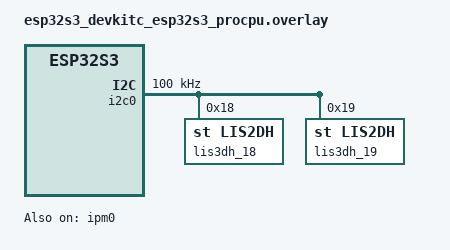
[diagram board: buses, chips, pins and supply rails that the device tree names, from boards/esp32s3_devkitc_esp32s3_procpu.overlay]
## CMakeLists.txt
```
cmake_minimum_required(VERSION 3.20.0)

find_package(Zephyr REQUIRED HINTS $ENV{ZEPHYR_BASE})
project(esp32s3_powermode_procpu)

target_sources(app PRIVATE
	src/main.c
	src/sensor_hub.c
)
```

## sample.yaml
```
sample:
  name: ESP32-S3 Power Mode lab (HW-664/LIS3DH + SSD1306, dual-core AMP)
  description: >
    core0 (procpu) reads the HW-664 accelerometer (actual chip: ST
    LIS3DH) over I2C0 every 100 ms using Zephyr's standard sensor API,
    auto-selecting whichever of the two candidate addresses (0x18/0x19)
    responds. It runs a 3-state power policy - Normal, Sleep, and
    Ultra-Sleep - driven by the onboard Boot button and by accel delta
    events (>=0.15g), and reports state/data to core1 over IPM. core1
    (appcpu) owns I2C1 and a power-gated SSD1306 128x64 OLED (a
    dedicated GPIO cuts the panel's own power rail in Sleep/Ultra-Sleep,
    not just a blanked screen), auto-scanning the panel's address
    (0x3C/0x3D) every time it (re)initializes. Declares the link down
    if no data arrives for 3 missed 1 s cycles. Built with --sysbuild.
tests:
  sample.sensor.esp32s3_powermode_dualcore:
    build_only: true
    sysbuild: true
    platform_allow: esp32s3_devkitc/esp32s3/procpu
    tags: sensor display i2c threads ipm multicore power-management
```

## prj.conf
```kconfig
# Lab 04: ESP32-S3 Power Mode - core0 (procpu) image
#
# Reads the HW-664 (actual chip: ST LIS3DH, confirmed via WHO_AM_I=0x33
# on real hardware - see the overlay header comment) over I2C0 and
# drives the 3-mode power state machine (Normal / Sleep / Ultra-Sleep).

CONFIG_I2C=y
CONFIG_GPIO=y

CONFIG_SENSOR=y
CONFIG_LIS2DH=y

# Inter-core mailbox to core1 (appcpu). Symbol confirmed in Lab 01
# against drivers/ipm/Kconfig upstream: it's ESP32_SOFT_IPM, not
# IPM_ESP32.
CONFIG_IPM=y
CONFIG_ESP32_SOFT_IPM=y

CONFIG_LOG=y
CONFIG_LOG_MODE_IMMEDIATE=y

# Accel-to-g conversion and vector magnitude math use floating point;
# ESP32-S3 has a hardware FPU.
CONFIG_FPU=y

# System Power Management: deliberately OFF (confirmed on real
# hardware, 2026-09-14, after three separate failed attempts to make
# CONFIG_PM=y's automatic Light-Sleep coexist cleanly with this SoC PM
# driver + the LIS2DH sensor driver on this Zephyr snapshot
# (v4.4.0-13070-g6d1d551f6080) - see doc/04_ESP32S3_PowerMode_TROUBLESHOOTING_kr.md
# for the full history. Ultra-Sleep mode in this lab is a software-only
# low-power *policy* (slow polling + eventual reboot), not a confirmed
# hardware Light-Sleep demonstration.
CONFIG_PM=n

# Needed for sys_reboot(), used to leave Ultra-Sleep mode.
CONFIG_REBOOT=y
```

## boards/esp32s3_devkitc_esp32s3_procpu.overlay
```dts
/*
 * Overlay for Lab 04 Power Mode - core0 (procpu) image.
 *
 * CHIP IDENTITY (confirmed on real hardware, this series' Lab 03):
 * the HW-664 module's silkscreen/listing claims LIS3DSH, but WHO_AM_I
 * read back 0x33, which is the LIS3DH family's value (LIS3DSH's fixed
 * WHO_AM_I is 0x3F). Zephyr's LIS2DH driver (drivers/sensor/st/lis2dh)
 * supports this chip family, but ONLY instantiates a device for nodes
 * whose compatible is "st,lis2dh" - the documented-looking "st,lis3dh"
 * compatible compiles but silently produces no device object (known
 * Zephyr issue #31253). So despite the chip being LIS3DH, the
 * compatible string below must be "st,lis2dh".
 *
 * - I2C0 remapped to SDA=GPIO8 / SCL=GPIO9, per this series' I2C0
 *   convention. Owned exclusively by core0 in this dual-core layout.
 * - Address depends on the module's SDO/SA0 pin: tied to GND -> 0x18,
 *   left unconnected/HIGH -> 0x19 (this is the module's default).
 *   Both candidate nodes are declared here; Zephyr's lis2dh driver
 *   reads WHO_AM_I during init() and fails device_is_ready() for
 *   whichever address has no real hardware behind it, so main.c just
 *   tries 0x18 then 0x19 at boot (same auto-detect pattern as this
 *   series' Lab 02 MPU6050 dual-node trick).
 * - The SSD1306 OLED and its power-gate GPIO are NOT on this image -
 *   they belong entirely to core1 (I2C1), see lab/remote's overlay.
 * - &ipm0 is this image's half of the core0<->core1 mailbox.
 */

#include <dt-bindings/pinctrl/esp32s3-pinctrl.h>
#include <zephyr/dt-bindings/i2c/i2c.h>

&pinctrl {
	i2c0_default: i2c0_default {
		group1 {
			pinmux = <I2C0_SDA_GPIO8>, <I2C0_SCL_GPIO9>;
			bias-pull-up;
			drive-open-drain;
			output-high;
		};
	};
};

&i2c0 {
	status = "okay";
	clock-frequency = <I2C_BITRATE_STANDARD>; /* 100 kHz */

	lis3dh_18: lis3dh@18 {
		compatible = "st,lis2dh"; /* driver quirk - see header comment above */
		reg = <0x18>;
	};

	lis3dh_19: lis3dh@19 {
		compatible = "st,lis2dh"; /* driver quirk - see header comment above */
		reg = <0x19>;
	};
};

&ipm0 {
	status = "okay";
};
```

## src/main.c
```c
/*
 * main.c - Lab 04: ESP32-S3 Power Mode lab, core0 (procpu) image.
 *
 * Owns I2C0 (HW-664 / LIS3DH), the onboard Boot button, and the
 * 3-state power policy state machine. Never touches I2C1 or the
 * SSD1306 directly - core1 owns the display entirely and only ever
 * hears from this image over IPM (see ipm_protocol.h).
 *
 * State machine (Boot button cycles Normal -> Sleep -> Ultra-Sleep):
 *
 *   NORMAL:
 *     - Sample HW-664 every 100 ms.
 *     - Every 1000 ms (10 samples), push the average to core1
 *       (IPM_CMD_ACCEL_AVG).
 *     - The instant the accel vector magnitude moves >= 0.15 g since
 *       the last value actually sent, push an out-of-cycle alert
 *       (IPM_CMD_ACCEL_ALERT) right away.
 *     - Boot button press -> Sleep: tell core1 to power off the OLED.
 *
 *   SLEEP:
 *     - Still samples every 100 ms (so the wake trigger below stays
 *       responsive), but stops pushing IPM_CMD_ACCEL_AVG/ALERT - the
 *       display is off, nobody would see it anyway.
 *     - Accel delta >= 0.15 g -> back to Normal: tell core1 to power
 *       the OLED back on and re-initialize it from scratch.
 *     - Boot button press -> Ultra-Sleep.
 *
 *   ULTRA_SLEEP:
 *     - Samples only once per 1000 ms. core1 hears nothing in this
 *       state (the OLED is already off from Sleep mode, nothing to
 *       change). This is a software-only low-power *policy* (slow
 *       polling, CONFIG_PM stays off) rather than a confirmed SoC
 *       Light-Sleep demonstration - see prj.conf and
 *       doc/04_ESP32S3_PowerMode_TROUBLESHOOTING_kr.md for why.
 *     - Accel delta >= 0.15 g -> sys_reboot(): this lab treats "wake
 *       from Ultra-Sleep" as a warm reset back to Normal mode, rather
 *       than resuming in place (see prj.conf for why: sys_poweroff()
 *       is deliberately avoided here).
 */

#include <zephyr/kernel.h>
#include <zephyr/device.h>
#include <zephyr/drivers/gpio.h>
#include <zephyr/drivers/ipm.h>
#include <zephyr/drivers/sensor.h>
#include <zephyr/logging/log.h>
#include <zephyr/sys/reboot.h>
#include <math.h>
#include <errno.h>

#include "ipm_protocol.h"
#include "sensor_hub.h"

LOG_MODULE_REGISTER(app_procpu, LOG_LEVEL_INF);

/* Two candidate HW-664 (LIS3DH) devicetree nodes at 0x18/0x19 - exactly
 * one will report device_is_ready() == true on real hardware, per this
 * series' address-autodetect convention (see the overlay). */
static const struct device *const lis3dh_18 = DEVICE_DT_GET(DT_NODELABEL(lis3dh_18));
static const struct device *const lis3dh_19 = DEVICE_DT_GET(DT_NODELABEL(lis3dh_19));
static const struct device *lis3dh_dev;

static const struct gpio_dt_spec boot_button = GPIO_DT_SPEC_GET(DT_ALIAS(sw0), gpios);
static const struct device *ipm_dev;
static struct gpio_callback button_cb_data;

typedef enum {
	APP_MODE_NORMAL = 0,
	APP_MODE_SLEEP,
	APP_MODE_ULTRA_SLEEP,
} app_mode_t;

static app_mode_t current_mode = APP_MODE_NORMAL;

/* Set from the GPIO ISR, consumed by the main loop. GPIO callbacks run
 * in interrupt context in Zephyr - k_sleep()/ipm_send() are NOT valid
 * to call there, so the callback does nothing but raise this flag. */
static volatile bool button_event_pending;

#define ACCEL_DELTA_THRESHOLD_G   0.15f
#define SAMPLE_PERIOD_NORMAL_MS   100
#define AVERAGE_PERIOD_MS         1000
#define SAMPLES_PER_AVERAGE       (AVERAGE_PERIOD_MS / SAMPLE_PERIOD_NORMAL_MS)
#define ULTRA_SLEEP_PERIOD_MS     1000
#define STANDARD_GRAVITY_MS2      9.80665f

static void boot_button_pressed(const struct device *dev, struct gpio_callback *cb, uint32_t pins)
{
	ARG_UNUSED(dev);
	ARG_UNUSED(cb);
	ARG_UNUSED(pins);

	button_event_pending = true;
}

static int lis3dh_select(void)
{
	if (device_is_ready(lis3dh_18)) {
		lis3dh_dev = lis3dh_18;
		LOG_INF("HW-664 (LIS3DH) found at I2C0 address 0x18");
		return 0;
	}
	if (device_is_ready(lis3dh_19)) {
		lis3dh_dev = lis3dh_19;
		LOG_INF("HW-664 (LIS3DH) found at I2C0 address 0x19");
		return 0;
	}

	LOG_ERR("HW-664 (LIS3DH) not found at 0x18 or 0x19 - check wiring");
	return -ENODEV;
}

/* Reads one 3-axis sample in g. Returns false (and leaves *ax/*ay/*az
 * untouched) on any sensor API error. */
static bool lis3dh_read_g(float *ax, float *ay, float *az)
{
	struct sensor_value x, y, z;

	if (sensor_sample_fetch(lis3dh_dev) < 0) {
		return false;
	}
	if (sensor_channel_get(lis3dh_dev, SENSOR_CHAN_ACCEL_X, &x) < 0 ||
	    sensor_channel_get(lis3dh_dev, SENSOR_CHAN_ACCEL_Y, &y) < 0 ||
	    sensor_channel_get(lis3dh_dev, SENSOR_CHAN_ACCEL_Z, &z) < 0) {
		return false;
	}

	/* Zephyr sensor channels report m/s^2; this lab's 0.15g threshold
	 * and on-screen units are in g. */
	*ax = (float)sensor_value_to_double(&x) / STANDARD_GRAVITY_MS2;
	*ay = (float)sensor_value_to_double(&y) / STANDARD_GRAVITY_MS2;
	*az = (float)sensor_value_to_double(&z) / STANDARD_GRAVITY_MS2;
	return true;
}

static void send_ipm(ipm_cmd_t cmd, float x, float y, float z)
{
	ipm_msg_t msg = { .cmd = cmd, .x = x, .y = y, .z = z };
	int ret = ipm_send(ipm_dev, 0, (uint32_t)cmd, &msg, sizeof(msg));

	if (ret < 0) {
		LOG_WRN("ipm_send(cmd=%d) failed: %d", cmd, ret);
	}
}

/* Runs once per main-loop iteration when button_event_pending was set.
 * This is where it's actually safe to call ipm_send()/k_sleep(). */
static void handle_button_event(void)
{
	switch (current_mode) {
	case APP_MODE_NORMAL:
		current_mode = APP_MODE_SLEEP;
		send_ipm(IPM_CMD_DISPLAY_SLEEP, 0, 0, 0);
		LOG_INF("Boot button: Normal -> Sleep");
		break;

	case APP_MODE_SLEEP:
		current_mode = APP_MODE_ULTRA_SLEEP;
		LOG_INF("Boot button: Sleep -> Ultra-Sleep");
		break;

	case APP_MODE_ULTRA_SLEEP:
		/* No third press target - Ultra-Sleep only leaves via the
		 * accel-triggered reboot described at the top of this file. */
		break;
	}
}

int main(void)
{
	int ret;

	LOG_INF("Lab 04 Power Mode (core0/procpu) starting, mode=NORMAL");

	ipm_dev = DEVICE_DT_GET(DT_NODELABEL(ipm0));
	if (!device_is_ready(ipm_dev)) {
		LOG_ERR("IPM device not ready");
		return -1;
	}

	if (lis3dh_select() != 0) {
		return -1;
	}

	if (!device_is_ready(boot_button.port)) {
		LOG_ERR("Boot button GPIO controller not ready");
		return -1;
	}
	ret = gpio_pin_configure_dt(&boot_button, GPIO_INPUT);
	if (ret < 0) {
		LOG_ERR("Failed to configure boot button: %d", ret);
		return ret;
	}
	gpio_pin_interrupt_configure_dt(&boot_button, GPIO_INT_EDGE_TO_ACTIVE);
	gpio_init_callback(&button_cb_data, boot_button_pressed, BIT(boot_button.pin));
	gpio_add_callback(boot_button.port, &button_cb_data);

	float sum_x = 0, sum_y = 0, sum_z = 0;
	int sample_cnt = 0;

	while (1) {
		if (button_event_pending) {
			button_event_pending = false;
			handle_button_event();
		}

		if (current_mode == APP_MODE_ULTRA_SLEEP) {
			float ax, ay, az;

			if (lis3dh_read_g(&ax, &ay, &az) &&
			    sensor_hub_accel_exceeds_threshold(ax, ay, az, ACCEL_DELTA_THRESHOLD_G)) {
				LOG_WRN("Impact detected in Ultra-Sleep (%.2f,%.2f,%.2f g) - "
					"rebooting to Normal mode", (double)ax, (double)ay, (double)az);
				k_msleep(20); /* let the log line flush before reset */
				sys_reboot(SYS_REBOOT_WARM);
				/* unreachable */
			}
			k_msleep(ULTRA_SLEEP_PERIOD_MS);
			continue;
		}

		/* Normal and Sleep both sample at 100 ms, so the 0.15g wake
		 * trigger stays responsive even with the OLED powered off. */
		float ax, ay, az;
		bool ok = lis3dh_read_g(&ax, &ay, &az);

		if (ok) {
			bool triggered = sensor_hub_accel_exceeds_threshold(
				ax, ay, az, ACCEL_DELTA_THRESHOLD_G);

			if (triggered && current_mode == APP_MODE_SLEEP) {
				current_mode = APP_MODE_NORMAL;
				send_ipm(IPM_CMD_DISPLAY_WAKE, 0, 0, 0);
				LOG_INF("Impact detected in Sleep mode - back to Normal");
			} else if (triggered && current_mode == APP_MODE_NORMAL) {
				send_ipm(IPM_CMD_ACCEL_ALERT, ax, ay, az);
			}

			sum_x += ax;
			sum_y += ay;
			sum_z += az;
			sample_cnt++;
		}

		if (sample_cnt >= SAMPLES_PER_AVERAGE) {
			if (current_mode == APP_MODE_NORMAL) {
				send_ipm(IPM_CMD_ACCEL_AVG,
					 sum_x / sample_cnt, sum_y / sample_cnt, sum_z / sample_cnt);
			}
			sum_x = sum_y = sum_z = 0;
			sample_cnt = 0;
		}

		k_msleep(SAMPLE_PERIOD_NORMAL_MS);
	}
	return 0;
}
```

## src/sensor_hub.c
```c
/*
 * sensor_hub.c  (core0 / procpu only)
 */

#include "sensor_hub.h"
#include <math.h>
#include <stdbool.h>

static float last_baseline_mag_g;
static bool  have_baseline;

bool sensor_hub_accel_exceeds_threshold(float ax, float ay, float az, float threshold)
{
	float mag = sqrtf(ax * ax + ay * ay + az * az);
	bool triggered = (!have_baseline) || (fabsf(mag - last_baseline_mag_g) >= threshold);

	if (triggered) {
		last_baseline_mag_g = mag;
		have_baseline = true;
	}

	return triggered;
}
```

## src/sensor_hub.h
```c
/*
 * sensor_hub.h  (core0 / procpu only)
 *
 * Trimmed down for Lab 04 (Power Mode) to the one piece of shared
 * logic this lab actually needs: deciding whether the accelerometer
 * has moved enough (>= threshold g) since the last time that decision
 * fired "yes". main.c reuses this same baseline both to fire an
 * immediate Normal-mode alert and to detect the Sleep/Ultra-Sleep
 * wake condition - same math, two different reactions.
 */

#ifndef SENSOR_HUB_H_
#define SENSOR_HUB_H_

#include <stdbool.h>

/* Compares the current accel vector magnitude (sqrt(ax^2+ay^2+az^2),
 * in g) against the magnitude last recorded as a baseline. If they
 * differ by at least `threshold`, records the new magnitude as the
 * baseline and returns true.
 */
bool sensor_hub_accel_exceeds_threshold(float ax, float ay, float az, float threshold);

#endif /* SENSOR_HUB_H_ */
```
